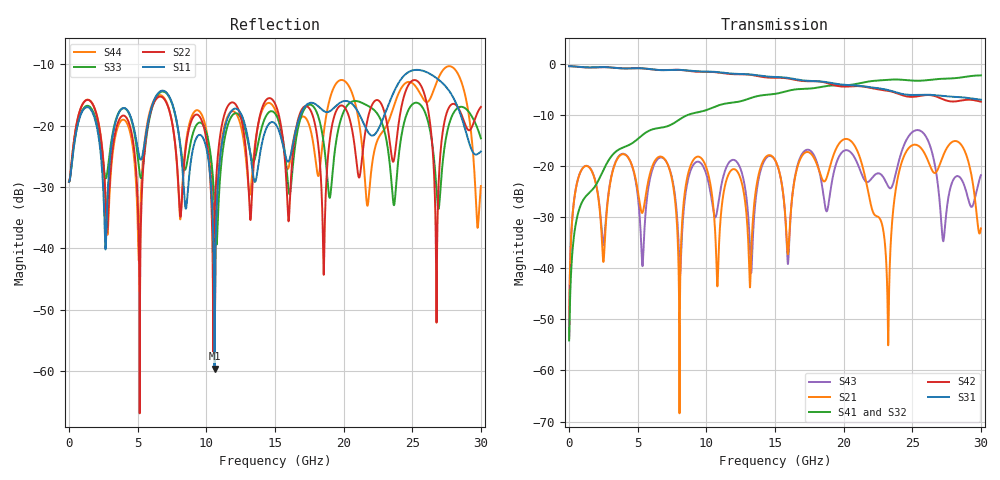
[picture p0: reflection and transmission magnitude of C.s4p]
!diffpair-meanders C (U-bend, sparse tuning (2 excursions) next to the bend), mesh coarse
!ports 1 P_near 2 N_near 3 P_far 4 N_far; openEMS FDTD, lumped 50 ohm ports
# Hz S RI R 50.0
! Port[1] = P_near
! Port[2] = N_near
! Port[3] = P_far
! Port[4] = N_far
!freq ReS11 ImS11 ReS12 ImS12 ReS13 ImS13
! ReS14 ImS14
! ReS21 ImS21 ReS22 ImS22 ReS23 ImS23
! ReS24 ImS24
! ReS31 ImS31 ReS32 ImS32 ReS33 ImS33
! ReS34 ImS34
! ReS41 ImS41 ReS42 ImS42 ReS43 ImS43
! ReS44 ImS44
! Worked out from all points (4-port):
!   3000 points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, 10 MHz to 30 GHz, reference 50 ohm
!   strongest paths, dB at 10 MHz, 7.51 GHz, 15.01 GHz, 22.51 GHz, 30 GHz:
!     S31: -0.4, -1.1, -2.5, -4.7, -7.0
!     S42: -0.4, -1.1, -2.7, -4.9, -7.4
!     S41: -54.1, -11.8, -5.8, -3.2, -2.2
!     S32: -54.1, -11.7, -5.9, -3.3, -2.2
!     S21: -53.6, -22.7, -18.8, -29.9, -32.2
!     S43: -53.6, -22.3, -18.8, -21.4, -21.8
!   lowest |S11| = -59.6 dB at 10.6 GHz (marker M1), VSWR 1.00, Z = 50.1 - j0.00201 ohm
!   |S11| at or under -10 dB: start of sweep to end of sweep
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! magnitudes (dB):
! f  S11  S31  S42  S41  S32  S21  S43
! 10 MHz  -29.1  -0.4  -0.4  -54.1  -54.1  -53.6  -53.6
! 1.15 GHz  -17.1  -0.6  -0.7  -26.2  -26.1  -20.0  -20.0
! 10.6 GHz  -59.6  -1.5  -1.6  -8.4  -8.4  -30.8  -29.8
! 12.02 GHz  -17.3  -1.9  -2.0  -7.5  -7.5  -20.6  -18.8
! 18.55 GHz  -17.6  -3.5  -3.5  -4.4  -4.3  -23.0  -26.0
! 27.83 GHz  -14.8  -6.4  -7.3  -2.8  -2.4  -15.4  -23.7
! 30 GHz  -24.2  -7.0  -7.4  -2.2  -2.2  -32.2  -21.8
